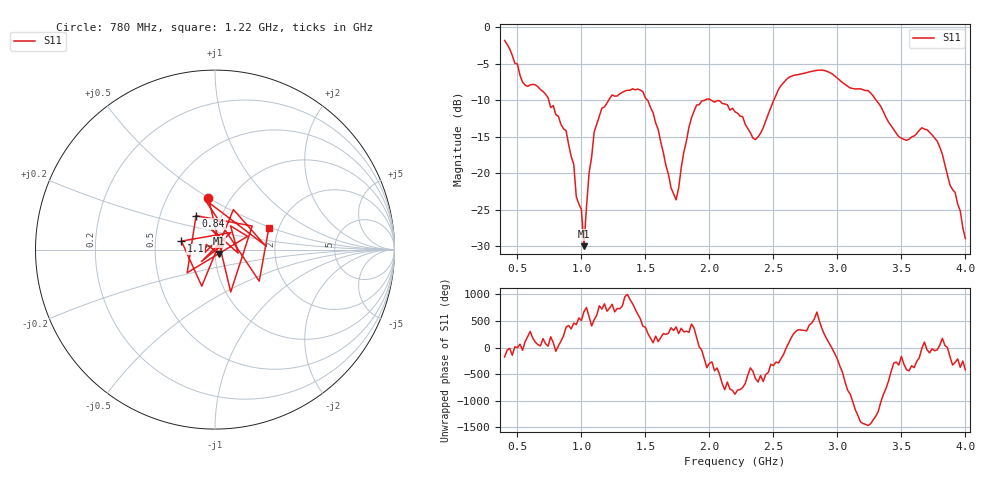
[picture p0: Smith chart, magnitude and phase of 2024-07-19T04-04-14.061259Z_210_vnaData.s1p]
!Created with skrf (http://scikit-rf.org).
# Hz S RI R 50.0
!freq ReS11 ImS11
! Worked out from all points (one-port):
!   181 points, 400 MHz to 4 GHz, reference 50 ohm
!   lowest |S11| = -30.0 dB at 1.02 GHz (marker M1), VSWR 1.07, Z = 52.3 - j2.29 ohm
!   |S11| at or under -10 dB: 745.1 MHz to 1.213 GHz (467.5 MHz wide, 47.8 % of centre); 2.015 GHz to 2.503 GHz (487.5 MHz wide, 21.6 % of centre); 3.303 GHz to end of sweep (the widest 3 of 4)
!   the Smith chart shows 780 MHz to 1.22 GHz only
!   S11 on the Smith chart (normalised r, x): 780 MHz: 0.79, +0.50; 840 MHz: 0.76, +0.30; 1.1 GHz: 0.68, +0.07; 1.22 GHz: 1.77, +0.49
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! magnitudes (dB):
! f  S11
! 400 MHz  -1.8
! 540 MHz  -7.5
! 780 MHz  -10.7
! 840 MHz  -13.3
! 860 MHz  -13.9
! 940 MHz  -18.7
! 960 MHz  -23.2
! 1 GHz  -25.0
! 1.02 GHz  -30.0
! 1.06 GHz  -20.0
! 1.1 GHz  -14.3
! 1.22 GHz  -9.8
! 1.3 GHz  -9.1
! 1.48 GHz  -8.8
! 1.6 GHz  -14.0
! 1.7 GHz  -22.0
! 1.76 GHz  -22.0
! 1.84 GHz  -13.7
! 1.9 GHz  -10.6
! 2.2 GHz  -11.6
! 2.36 GHz  -15.4
! 2.66 GHz  -6.6
! 3.1 GHz  -8.3
! 3.24 GHz  -8.7
! 3.56 GHz  -15.3
! 3.66 GHz  -13.8
! 3.78 GHz  -15.6
! 4 GHz  -29.0
